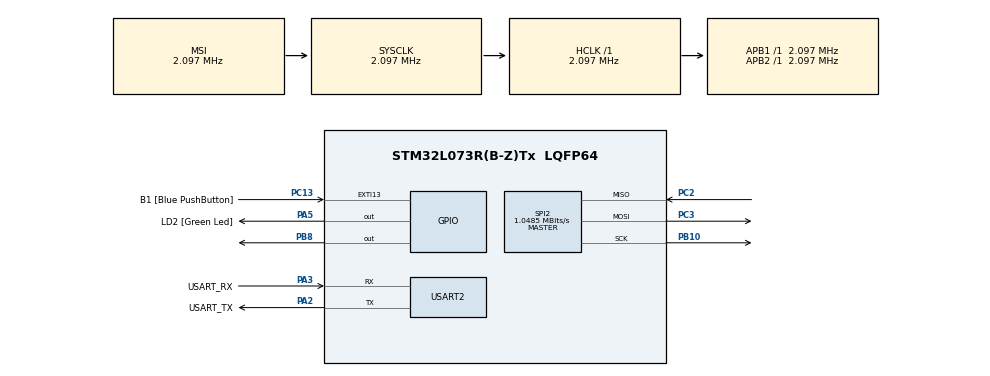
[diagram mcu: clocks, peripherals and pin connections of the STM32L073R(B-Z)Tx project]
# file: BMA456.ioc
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Mcu.Family=STM32L0
Mcu.Name=STM32L073R(B-Z)Tx
Mcu.Package=LQFP64
PA13.GPIO_Label=TMS
PA13.Mode=Serial_Wire
PA13.Signal=SYS_SWDIO
PA14.GPIO_Label=TCK
PA14.Mode=Serial_Wire
PA14.Signal=SYS_SWCLK
PA2.GPIO_Label=USART_TX
PA2.Mode=Asynchronous
PA2.Signal=USART2_TX
PA3.GPIO_Label=USART_RX
PA3.Mode=Asynchronous
PA3.Signal=USART2_RX
PA5.GPIO_Label=LD2 [Green Led]
PA5.Signal=GPIO_Output
PB10.Mode=Full_Duplex_Master
PB10.Signal=SPI2_SCK
PB8.PinState=GPIO_PIN_SET
PB8.Signal=GPIO_Output
PC13.GPIO_Label=B1 [Blue PushButton]
PC13.GPIO_ModeDefaultEXTI=GPIO_MODE_IT_FALLING
PC13.Signal=GPXTI13
PC14-OSC32_IN.Mode=LSE-External-Oscillator
PC14-OSC32_IN.Signal=RCC_OSC32_IN
PC15-OSC32_OUT.Mode=LSE-External-Oscillator
PC15-OSC32_OUT.Signal=RCC_OSC32_OUT
PC2.Mode=Full_Duplex_Master
PC2.Signal=SPI2_MISO
PC3.Mode=Full_Duplex_Master
PC3.Signal=SPI2_MOSI
PH0-OSC_IN.GPIO_Label=MCO
PH0-OSC_IN.Mode=HSE-External-Clock-Source
PH0-OSC_IN.Signal=RCC_OSC_IN
ProjectManager.HeapSize=0x200
ProjectManager.StackSize=0x400
ProjectManager.TargetToolchain=STM32CubeIDE
RCC.AHBFreq_Value=2097000
RCC.APB1Freq_Value=2097000
RCC.APB1TimFreq_Value=2097000
RCC.APB2Freq_Value=2097000
RCC.APB2TimFreq_Value=2097000
RCC.HSE_VALUE=8000000
RCC.HSI16_VALUE=16000000
RCC.HSI48_VALUE=48000000
RCC.HSI_VALUE=16000000
RCC.MSI_VALUE=2097000
RCC.SYSCLKFreq_VALUE=2097000
RCC.VCOOutputFreq_Value=48000000
SPI2.CalculateBaudRate=1.0485 MBits/s
SPI2.DataSize=SPI_DATASIZE_8BIT
SPI2.Direction=SPI_DIRECTION_2LINES
SPI2.Mode=SPI_MODE_MASTER
SPI2.VirtualType=VM_MASTER
USART2.VirtualMode-Asynchronous=VM_ASYNC
board=NUCLEO-L073RZ

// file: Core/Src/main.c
/* USER CODE BEGIN Header */
/**
  ******************************************************************************
  * @file           : main.c
  * @brief          : Main program body
  ******************************************************************************
  * @attention
  *
  * Copyright (c) 2023 STMicroelectronics.
  * All rights reserved.
  *
  * This software is licensed under terms that can be found in the LICENSE file
  * in the root directory of this software component.
  * If no LICENSE file comes with this software, it is provided AS-IS.
  *
  ******************************************************************************
  */
/* USER CODE END Header */
#include "main.h"

/* USER CODE BEGIN Includes */
#include "bma456.h"
/* USER CODE END Includes */

/* USER CODE BEGIN PD */
#define BITES_TO_SEND 8
/* USER CODE END PD */

SPI_HandleTypeDef hspi2;

UART_HandleTypeDef huart2;

/* USER CODE BEGIN PV */
void BMA456_SPI_Read(uint8_t reg_addr, uint8_t *reg_data, uint32_t len_addr, uint32_t len_data);
void BMA456_SPI_Write(uint8_t reg_addr, uint8_t reg_data);
uint8_t BMA456_Check_Connection();
void BMA456_Init();
void BMA456_Get_Sensor_Data(uint8_t *data_read);
uint8_t data_read[BITES_TO_SEND];
int16_t data_read_readable[3];
char axes[]={'x', 'y','z'};

//const uint8_t bma456_an_config_file[] = {
//    0xc8, 0x2e, 0x00, 0x2e, 0xc8, 0x2e, 0x00, 0x2e, 0xc8, 0x2e, 0x00, 0x2e, 0xc8, 0x2e, 0x00, 0x2e, 0xc8, 0x2e, 0x00,
//    0x2e, 0xc8, 0x2e, 0x00, 0x2e, 0xc8, 0x2e, 0x00, 0x2e, 0x80, 0x2e, 0x58, 0x01, 0x80, 0x2e, 0x42, 0x02, 0xb0, 0xf0,
//    0x10, 0x30, 0x21, 0x2e, 0x16, 0xf0, 0x80, 0x2e, 0xf0, 0x00, 0x1f, 0x50, 0x1d, 0x52, 0x01, 0x42, 0x3b, 0x80, 0x41,
//    0x30, 0x01, 0x42, 0x3c, 0x80, 0x00, 0x2e, 0x01, 0x40, 0x01, 0x42, 0x21, 0x2e, 0xff, 0xaf, 0xb8, 0x2e, 0x2c, 0x82,
//    0x80, 0x2e, 0x18, 0x00, 0x80, 0x2e, 0x18, 0x00, 0x80, 0x2e, 0x18, 0x00, 0x80, 0x2e, 0x18, 0x00, 0x80, 0x2e, 0x18,
//    0x00, 0x80, 0x2e, 0x18, 0x00, 0x80, 0x2e, 0x18, 0x00, 0xfd, 0x2d, 0x00, 0x00, 0x00, 0x00, 0x00, 0x00, 0x00, 0x00,
//    0x00, 0x00, 0x01, 0x2e, 0x55, 0xf0, 0xc0, 0x2e, 0x21, 0x2e, 0x55, 0xf0, 0x44, 0x47, 0xaa, 0x00, 0x05, 0x00, 0xaa,
//    0x00, 0x05, 0x00, 0x42, 0x58, 0x88, 0x00, 0x00, 0x00, 0x00, 0x00, 0x00, 0x00, 0x00, 0x00, 0x00, 0x00, 0x00, 0x00,
//    0x00, 0x00, 0x00, 0x00, 0x00, 0x00, 0x00, 0x00, 0x00, 0x00, 0x00, 0x00, 0x00, 0x00, 0x00, 0x00, 0x00, 0x00, 0x00,
//    0x00, 0x00, 0x00, 0x00, 0x00, 0x19, 0x52, 0x0b, 0x50, 0x60, 0x42, 0x00, 0x3f, 0x0d, 0x54, 0x42, 0x42, 0x69, 0x82,
//    0x0f, 0x54, 0x42, 0x42, 0x42, 0x82, 0x4b, 0x30, 0x42, 0x40, 0x10, 0x08, 0x50, 0x42, 0x7e, 0x80, 0x4b, 0x42, 0x61,
//    0x30, 0x01, 0x42, 0x10, 0x50, 0x03, 0x2e, 0x40, 0xf0, 0x56, 0xb2, 0x08, 0x80, 0x31, 0x30, 0xf0, 0x7f, 0x03, 0x2f,
//    0x01, 0x2e, 0x40, 0xf0, 0x1a, 0x90, 0x21, 0x2f, 0x98, 0x2e, 0x1e, 0xb0, 0x03, 0x30, 0x13, 0x50, 0x17, 0x52, 0x11,
//    0x54, 0x54, 0x33, 0x06, 0x30, 0x55, 0x32, 0x1d, 0x1a, 0xe3, 0x22, 0x18, 0x1a, 0x15, 0x58, 0xe3, 0x22, 0x04, 0x30,
//    0xd5, 0x40, 0xb5, 0x0d, 0xe1, 0xbe, 0x6f, 0xbb, 0x80, 0x91, 0xa9, 0x0d, 0x01, 0x89, 0xb5, 0x23, 0x10, 0xa1, 0xf7,
//    0x2f, 0xda, 0x0e, 0x54, 0x33, 0xeb, 0x2f, 0x01, 0x2e, 0x25, 0x00, 0x70, 0x1a, 0x00, 0x30, 0x21, 0x30, 0x48, 0x22,
//    0x40, 0xb2, 0x06, 0x2f, 0x23, 0x2e, 0x59, 0xf0, 0x98, 0x2e, 0x3a, 0x00, 0x00, 0x2e, 0x00, 0x2e, 0xd0, 0x2e, 0xf0,
//    0x6f, 0x01, 0x31, 0x20, 0x26, 0x01, 0x42, 0x10, 0x30, 0x21, 0x2e, 0x59, 0xf0, 0x98, 0x2e, 0x3a, 0x00, 0x01, 0x50,
//    0x03, 0x52, 0x98, 0x2e, 0x7f, 0x01, 0x01, 0x50, 0x05, 0x84, 0x13, 0x30, 0x05, 0x50, 0x64, 0x30, 0x07, 0x52, 0x93,
//    0x42, 0x84, 0x42, 0x98, 0x2e, 0x7f, 0x01, 0x05, 0x50, 0x06, 0x80, 0x71, 0x30, 0x01, 0x42, 0x00, 0x2e, 0x00, 0x2e,
//    0xd0, 0x2e, 0x98, 0x2e, 0xd6, 0x00, 0x01, 0x2e, 0x36, 0x00, 0x00, 0xb2, 0x0d, 0x2f, 0x00, 0x30, 0x21, 0x2e, 0x36,
//    0x00, 0x09, 0x50, 0x98, 0x2e, 0x18, 0x01, 0x09, 0x50, 0x01, 0x52, 0x98, 0x2e, 0x90, 0x01, 0x09, 0x50, 0x05, 0x52,
//    0x98, 0x2e, 0x90, 0x01, 0x98, 0x2e, 0x3a, 0x00, 0xe6, 0x2d, 0x07, 0x2e, 0x00, 0xf0, 0x03, 0x2e, 0x00, 0xf0, 0x21,
//    0x50, 0x9c, 0xbe, 0x02, 0x40, 0x1d, 0x52, 0xf4, 0x33, 0xdc, 0xba, 0xd9, 0x0f, 0x94, 0x08, 0x06, 0x2f, 0x49, 0xaf,
//    0x04, 0x2f, 0x51, 0x0a, 0x02, 0x34, 0x47, 0xa3, 0x8a, 0x0a, 0x91, 0x22, 0x3c, 0x80, 0x25, 0x2e, 0x59, 0xf0, 0x01,
//    0x40, 0x01, 0x42, 0xb8, 0x2e, 0x1a, 0x24, 0x26, 0x00, 0x80, 0x2e, 0x58, 0x00, 0x80, 0x2e, 0x18, 0x00, 0x80, 0x2e,
//    0x18, 0x00, 0x80, 0x2e, 0x18, 0x00, 0x80, 0x2e, 0x18, 0x00, 0x80, 0x2e, 0x18, 0x00, 0x80, 0x2e, 0x18, 0x00, 0x46,
//    0x00, 0x40, 0x00, 0x4f, 0x00, 0x42, 0x00, 0x37, 0x00, 0xaf, 0x00, 0xff, 0x00, 0xec, 0x00, 0xff, 0xb7, 0x00, 0x02,
//    0x00, 0xb0, 0x05, 0x80, 0xc9, 0xf0, 0x88, 0x00, 0x80, 0x00, 0x5e, 0xf0, 0x59, 0xf0, 0x89, 0xf0, 0x3a, 0x00, 0x80,
//    0x2e, 0x00, 0xae, 0x44, 0x47, 0xfd, 0x2d, 0x00, 0x0c, 0x60, 0x50, 0x03, 0x2e, 0x45, 0x00, 0xe0, 0x7f, 0xf1, 0x7f,
//    0xdb, 0x7f, 0x30, 0x30, 0x1b, 0x54, 0x0a, 0x1a, 0x28, 0x2f, 0x1a, 0x25, 0x7a, 0x82, 0x00, 0x30, 0x43, 0x30, 0x32,
//    0x30, 0x05, 0x30, 0x04, 0x30, 0xf6, 0x6f, 0xf2, 0x09, 0xfc, 0x13, 0xc2, 0xab, 0xb3, 0x09, 0xef, 0x23, 0x80, 0xb3,
//    0xe6, 0x6f, 0xb7, 0x01, 0x00, 0x2e, 0x8b, 0x41, 0x4b, 0x42, 0x03, 0x2f, 0x46, 0x40, 0x86, 0x17, 0x81, 0x8d, 0x46,
//    0x42, 0x41, 0x8b, 0x23, 0xbd, 0xb3, 0xbd, 0x03, 0x89, 0x41, 0x82, 0x07, 0x0c, 0x43, 0xa3, 0xe6, 0x2f, 0xe1, 0x6f,
//    0xa2, 0x6f, 0x52, 0x42, 0x00, 0x2e, 0xb2, 0x6f, 0x52, 0x42, 0x00, 0x2e, 0xc2, 0x6f, 0x42, 0x42, 0x03, 0xb2, 0x03,
//    0x2e, 0x59, 0xf0, 0xf3, 0x3d, 0x02, 0x32, 0x0b, 0x08, 0x8a, 0x0a, 0xdb, 0x6f, 0x02, 0x22, 0xa0, 0x5f, 0x21, 0x2e,
//    0x59, 0xf0, 0xb8, 0x2e, 0x60, 0x50, 0xc3, 0x7f, 0xd4, 0x7f, 0xe7, 0x7f, 0xf6, 0x7f, 0xb2, 0x7f, 0xa5, 0x7f, 0x36,
//    0x30, 0x07, 0x2e, 0x01, 0xf0, 0xbe, 0xbd, 0xbe, 0xbb, 0x23, 0x58, 0x77, 0x05, 0x09, 0x56, 0x25, 0x54, 0x27, 0x41,
//    0x06, 0x41, 0xf8, 0xbf, 0xbe, 0x0b, 0xb5, 0x11, 0xd6, 0x42, 0x03, 0x89, 0x5a, 0x0e, 0xf6, 0x2f, 0x12, 0x30, 0x25,
//    0x2e, 0x36, 0x00, 0x02, 0x31, 0x25, 0x2e, 0xb8, 0xf0, 0xd4, 0x6f, 0xc3, 0x6f, 0xe7, 0x6f, 0xb2, 0x6f, 0xa5, 0x6f,
//    0xf6, 0x6f, 0xa0, 0x5f, 0xc8, 0x2e, 0x09, 0x86, 0x02, 0x30, 0x12, 0x42, 0x43, 0x0e, 0xfc, 0x2f, 0x37, 0x80, 0x13,
//    0x30, 0x13, 0x42, 0x12, 0x42, 0x12, 0x42, 0x12, 0x42, 0x02, 0x42, 0x03, 0x80, 0x41, 0x84, 0x11, 0x42, 0x02, 0x42,
//    0xb8, 0x2e, 0x46, 0x84, 0x80, 0x50, 0xa3, 0x40, 0x83, 0x88, 0x82, 0x40, 0x04, 0x41, 0xc3, 0x7f, 0x42, 0x8a, 0x06,
//    0x41, 0x6d, 0xbb, 0xf6, 0x7f, 0x80, 0xb3, 0xd5, 0x7f, 0xe0, 0x7f, 0x59, 0x2f, 0x31, 0x25, 0x55, 0x40, 0x41, 0x91,
//    0xb1, 0x7f, 0x0f, 0x2f, 0x01, 0x30, 0xc1, 0x42, 0x00, 0x2e, 0xd2, 0x6f, 0x13, 0x40, 0x93, 0x42, 0x00, 0x2e, 0x13,
//    0x40, 0x93, 0x42, 0x00, 0x2e, 0x00, 0x40, 0x80, 0x42, 0xbd, 0x80, 0xc0, 0x2e, 0x01, 0x42, 0x80, 0x5f, 0xc7, 0x86,
//    0x01, 0x30, 0xc5, 0x40, 0xfb, 0x86, 0x45, 0x41, 0x04, 0x41, 0x43, 0xbe, 0xd5, 0xbe, 0x43, 0xba, 0xd5, 0xba, 0x84,
//    0x7f, 0x95, 0x7f, 0xa1, 0x7f, 0x14, 0x30, 0x61, 0x15, 0xf5, 0x09, 0x15, 0x40, 0xc0, 0xb3, 0x0b, 0x2f, 0xc6, 0x40,
//    0xae, 0x05, 0x07, 0x30, 0xfe, 0x05, 0x80, 0xa9, 0xb7, 0x23, 0x97, 0x6f, 0x77, 0x0f, 0xa6, 0x6f, 0xe6, 0x23, 0xf6,
//    0x6f, 0xa7, 0x7f, 0x80, 0x90, 0x00, 0x2f, 0xc5, 0x42, 0x41, 0x82, 0xc1, 0x86, 0x43, 0xa2, 0xe7, 0x2f, 0xa1, 0x6f,
//    0xb0, 0x6f, 0x0a, 0x1a, 0x02, 0x2f, 0x01, 0x30, 0x1b, 0x2c, 0x01, 0x42, 0x01, 0x40, 0x4c, 0x28, 0x82, 0x6f, 0x01,
//    0x42, 0x4a, 0x0e, 0x13, 0x2f, 0xc0, 0x6f, 0x00, 0xb2, 0x03, 0x2f, 0x3f, 0x80, 0x20, 0x14, 0x21, 0x2e, 0x5e, 0xf0,
//    0xe1, 0x6f, 0xd0, 0x6f, 0x52, 0x40, 0x12, 0x42, 0x00, 0x2e, 0x52, 0x40, 0x12, 0x42, 0x00, 0x2e, 0x41, 0x40, 0x03,
//    0x2c, 0x01, 0x42, 0x10, 0x30, 0x40, 0x42, 0x80, 0x5f, 0xb8, 0x2e, 0x80, 0x2e, 0x18, 0x00, 0xfd, 0x2d, 0x30, 0x50,
//    0x2a, 0x25, 0xbd, 0x84, 0xfb, 0x7f, 0x8b, 0x31, 0x27, 0x56, 0x83, 0x42, 0xeb, 0x7f, 0x06, 0x30, 0x14, 0x30, 0x05,
//    0x30, 0x0d, 0x2c, 0x13, 0x56, 0x43, 0x1a, 0x02, 0x2f, 0x4e, 0x04, 0x06, 0x30, 0x15, 0x50, 0xec, 0x09, 0xd7, 0x01,
//    0x41, 0x8b, 0xcb, 0x41, 0xc6, 0x01, 0x81, 0x8d, 0xcb, 0x43, 0x31, 0x0e, 0xf1, 0x2f, 0xfb, 0x6f, 0xd0, 0x5f, 0xb8,
//    0x2e, 0x10, 0x50, 0x01, 0x2e, 0x35, 0x00, 0x00, 0xb2, 0xfb, 0x7f, 0x19, 0x2f, 0x29, 0x56, 0x2f, 0x52, 0x13, 0x54,
//    0xc3, 0x00, 0x48, 0x04, 0xc2, 0x0f, 0x18, 0x22, 0x41, 0xb2, 0x0e, 0x2f, 0x12, 0x30, 0x8a, 0x08, 0x80, 0xb2, 0x06,
//    0x2f, 0x7f, 0x82, 0x98, 0x2e, 0x00, 0xb0, 0x2d, 0x52, 0x23, 0x2e, 0xff, 0xb9, 0x06, 0x2d, 0xfb, 0x6f, 0xf0, 0x5f,
//    0x80, 0x2e, 0x00, 0xb0, 0x2b, 0x52, 0x01, 0x42, 0x00, 0x2e, 0xfb, 0x6f, 0xf0, 0x5f, 0xb8, 0x2e, 0x10, 0x24, 0x58,
//    0x02, 0x11, 0x24, 0x00, 0x0c, 0x12, 0x24, 0x80, 0x2e, 0x13, 0x24, 0x18, 0x00, 0x12, 0x42, 0x13, 0x42, 0x41, 0x1a,
//    0xfb, 0x2f, 0x10, 0x24, 0x50, 0x39, 0x11, 0x24, 0x21, 0x2e, 0x21, 0x2e, 0x10, 0x00, 0x23, 0x2e, 0x11, 0x00, 0x80,
//    0x2e, 0x10, 0x00
//};

//uint8_t tabToWrite[]={0x0, 0xaa, 0x00, 0x5, 0x1, 0x2d, 0x7b, 0xd4, 0x1, 0x3b, 0x7a, 0xdb, 0x0, 0x4, 0x7b, 0x3f, 0x6c,
//		0xcd, 0x4, 0xc3, 0x9, 0x85, 0x4, 0xc3, 0xe6, 0xec, 0x46, 0xc, 0x0, 0x1, 0x0, 0x27, 0x0, 0x19, 0x0, 0x96, 0x0,
//		0xa0, 0x0, 0x01, 0x0, 0x0c, 0x3c, 0xf0, 0x01, 0x0, 0x1, 0x0, 0x03, 0x0, 0x1, 0x0, 0xe, 0x0, 0x0, 0x0, 0x6, 0x0,
//		0x0, 0x0, 0x0, 0x0, 0x88};

/* USER CODE END PV */

void SystemClock_Config(void);
static void MX_GPIO_Init(void);
static void MX_USART2_UART_Init(void);
static void MX_SPI2_Init(void);

/* USER CODE BEGIN 0 */
int __io_putchar(int ch) // UART - NOT NEEDED LATER ON
{
	HAL_UART_Transmit(&huart2, (uint8_t*)&ch, 1, HAL_MAX_DELAY);
	return 1;
}

void measureAcc(int16_t *data_read_readable, uint8_t *data_read)
{
	BMA456_Get_Sensor_Data(data_read);
	data_read_readable[0] = (int16_t)data_read[1+2]*256 + data_read[0+2];
	data_read_readable[1] = (int16_t)data_read[3+2]*256 + data_read[2+2];
	data_read_readable[2] = (int16_t)data_read[5+2]*256 + data_read[4+2];
	HAL_Delay(100);
}
/* USER CODE END 0 */

int main(void)
{

  /* MCU Configuration--------------------------------------------------------*/

  /* Reset of all peripherals, Initializes the Flash interface and the Systick. */
  HAL_Init();

  /* Configure the system clock */
  SystemClock_Config();

  /* Initialize all configured peripherals */
  MX_GPIO_Init();
  MX_USART2_UART_Init();
  MX_SPI2_Init();
  /* USER CODE BEGIN 2 */
//  HAL_GPIO_WritePin(GPIOB, GPIO_PIN_8, GPIO_PIN_SET);
  HAL_Delay(200);
  uint8_t rslt;
  do{
	  rslt = BMA456_Check_Connection();
	  HAL_Delay(10);
  }while(rslt != 1);

  //HAL_GPIO_WritePin(GPIOB, GPIO_PIN_8, GPIO_PIN_SET);

//  rslt = BMA456_Check_Connection(&hspi2);

  if(rslt == 1)
  {
	  BMA456_Init();
	  while(1){
	  measureAcc(data_read_readable, data_read);
	  printf("Output data readable:\r\n");
	  for(int i = 0; i<3; i++)
	  {
	   	printf("%d \r\n", data_read_readable[i]);
	  }
	  for (int i=0; i<3;i++){
		  if(data_read_readable[i]>1900 && data_read_readable[i]<2500 && data_read_readable[i]>data_read_readable[(i+1)%3] && data_read_readable[i]>data_read_readable[(i+2)%3]){
		  printf("Grawitacja: %c\r\n", axes[i]);
	  }
		  if(data_read_readable[i]<-1900 && data_read_readable[i]>-2500 && data_read_readable[i]<data_read_readable[(i+1)%3] && data_read_readable[i]<data_read_readable[(i+2)%3]){
		  		  printf("Grawitacja: - %c\r\n", axes[i]);
		  	  }
	  }
	  }

  }

  /* USER CODE END 2 */

  /* Infinite loop */
  while (1)
  {

  }
}

void SystemClock_Config(void)
{
  RCC_OscInitTypeDef RCC_OscInitStruct = {0};
  RCC_ClkInitTypeDef RCC_ClkInitStruct = {0};
  RCC_PeriphCLKInitTypeDef PeriphClkInit = {0};

  /** Configure the main internal regulator output voltage
  */
  __HAL_PWR_VOLTAGESCALING_CONFIG(PWR_REGULATOR_VOLTAGE_SCALE1);

  /** Initializes the RCC Oscillators according to the specified parameters
  * in the RCC_OscInitTypeDef structure.
  */
  RCC_OscInitStruct.OscillatorType = RCC_OSCILLATORTYPE_MSI;
  RCC_OscInitStruct.MSIState = RCC_MSI_ON;
  RCC_OscInitStruct.MSICalibrationValue = 0;
  RCC_OscInitStruct.MSIClockRange = RCC_MSIRANGE_5;
  RCC_OscInitStruct.PLL.PLLState = RCC_PLL_NONE;
  if (HAL_RCC_OscConfig(&RCC_OscInitStruct) != HAL_OK)
  {
    Error_Handler();
  }

  /** Initializes the CPU, AHB and APB buses clocks
  */
  RCC_ClkInitStruct.ClockType = RCC_CLOCKTYPE_HCLK|RCC_CLOCKTYPE_SYSCLK
                              |RCC_CLOCKTYPE_PCLK1|RCC_CLOCKTYPE_PCLK2;
  RCC_ClkInitStruct.SYSCLKSource = RCC_SYSCLKSOURCE_MSI;
  RCC_ClkInitStruct.AHBCLKDivider = RCC_SYSCLK_DIV1;
  RCC_ClkInitStruct.APB1CLKDivider = RCC_HCLK_DIV1;
  RCC_ClkInitStruct.APB2CLKDivider = RCC_HCLK_DIV1;

  if (HAL_RCC_ClockConfig(&RCC_ClkInitStruct, FLASH_LATENCY_0) != HAL_OK)
  {
    Error_Handler();
  }
  PeriphClkInit.PeriphClockSelection = RCC_PERIPHCLK_USART2;
  PeriphClkInit.Usart2ClockSelection = RCC_USART2CLKSOURCE_PCLK1;
  if (HAL_RCCEx_PeriphCLKConfig(&PeriphClkInit) != HAL_OK)
  {
    Error_Handler();
  }
}

static void MX_SPI2_Init(void)
{

  /* SPI2 parameter configuration*/
  hspi2.Instance = SPI2;
  hspi2.Init.Mode = SPI_MODE_MASTER;
  hspi2.Init.Direction = SPI_DIRECTION_2LINES;
  hspi2.Init.DataSize = SPI_DATASIZE_8BIT;
  hspi2.Init.CLKPolarity = SPI_POLARITY_LOW;
  hspi2.Init.CLKPhase = SPI_PHASE_1EDGE;
  hspi2.Init.NSS = SPI_NSS_SOFT;
  hspi2.Init.BaudRatePrescaler = SPI_BAUDRATEPRESCALER_2;
  hspi2.Init.FirstBit = SPI_FIRSTBIT_MSB;
  hspi2.Init.TIMode = SPI_TIMODE_DISABLE;
  hspi2.Init.CRCCalculation = SPI_CRCCALCULATION_DISABLE;
  hspi2.Init.CRCPolynomial = 7;
  if (HAL_SPI_Init(&hspi2) != HAL_OK)
  {
    Error_Handler();
  }

}

static void MX_USART2_UART_Init(void)
{

  huart2.Instance = USART2;
  huart2.Init.BaudRate = 115200;
  huart2.Init.WordLength = UART_WORDLENGTH_8B;
  huart2.Init.StopBits = UART_STOPBITS_1;
  huart2.Init.Parity = UART_PARITY_NONE;
  huart2.Init.Mode = UART_MODE_TX_RX;
  huart2.Init.HwFlowCtl = UART_HWCONTROL_NONE;
  huart2.Init.OverSampling = UART_OVERSAMPLING_16;
  huart2.Init.OneBitSampling = UART_ONE_BIT_SAMPLE_DISABLE;
  huart2.AdvancedInit.AdvFeatureInit = UART_ADVFEATURE_NO_INIT;
  if (HAL_UART_Init(&huart2) != HAL_OK)
  {
    Error_Handler();
  }

}

static void MX_GPIO_Init(void)
{
  GPIO_InitTypeDef GPIO_InitStruct = {0};

  /* GPIO Ports Clock Enable */
  __HAL_RCC_GPIOC_CLK_ENABLE();
  __HAL_RCC_GPIOH_CLK_ENABLE();
  __HAL_RCC_GPIOA_CLK_ENABLE();
  __HAL_RCC_GPIOB_CLK_ENABLE();

  /*Configure GPIO pin Output Level */
  HAL_GPIO_WritePin(LD2_GPIO_Port, LD2_Pin, GPIO_PIN_RESET);

  /*Configure GPIO pin Output Level */
  HAL_GPIO_WritePin(GPIOB, GPIO_PIN_8, GPIO_PIN_SET);

  /*Configure GPIO pin : B1_Pin */
  GPIO_InitStruct.Pin = B1_Pin;
  GPIO_InitStruct.Mode = GPIO_MODE_IT_FALLING;
  GPIO_InitStruct.Pull = GPIO_NOPULL;
  HAL_GPIO_Init(B1_GPIO_Port, &GPIO_InitStruct);

  /*Configure GPIO pin : LD2_Pin */
  GPIO_InitStruct.Pin = LD2_Pin;
  GPIO_InitStruct.Mode = GPIO_MODE_OUTPUT_PP;
  GPIO_InitStruct.Pull = GPIO_NOPULL;
  GPIO_InitStruct.Speed = GPIO_SPEED_FREQ_LOW;
  HAL_GPIO_Init(LD2_GPIO_Port, &GPIO_InitStruct);

  /*Configure GPIO pin : PB8 */
  GPIO_InitStruct.Pin = GPIO_PIN_8;
  GPIO_InitStruct.Mode = GPIO_MODE_OUTPUT_PP;
  GPIO_InitStruct.Pull = GPIO_NOPULL;
  GPIO_InitStruct.Speed = GPIO_SPEED_FREQ_LOW;
  HAL_GPIO_Init(GPIOB, &GPIO_InitStruct);

}

/* USER CODE BEGIN 4 */
void BMA456_SPI_Read(uint8_t reg_addr, uint8_t *reg_data, uint32_t len_addr, uint32_t len_data)
{
	reg_addr |= 0x80;

    HAL_GPIO_WritePin(GPIOB, GPIO_PIN_8, GPIO_PIN_RESET);

    HAL_SPI_Transmit(&hspi2, &reg_addr, len_addr, 1000);
	HAL_SPI_Receive(&hspi2, reg_data, len_data, 1000);

    HAL_GPIO_WritePin(GPIOB, GPIO_PIN_8, GPIO_PIN_SET);

}
void BMA456_SPI_Write(uint8_t reg_addr, uint8_t reg_data)
{
	uint8_t reg_data_tab[2];
	reg_data_tab[0] = reg_addr & 0x7F;
	reg_data_tab[1] = reg_data;

    HAL_GPIO_WritePin(GPIOB, GPIO_PIN_8, GPIO_PIN_RESET);

	HAL_SPI_Transmit(&hspi2, reg_data_tab, 2, 1000);

    HAL_GPIO_WritePin(GPIOB, GPIO_PIN_8, GPIO_PIN_SET);
//    reg_addr |= 0x80;
//    reg_data_tab[0] = reg_addr;
//    HAL_GPIO_WritePin(GPIOB, GPIO_PIN_8, GPIO_PIN_RESET);
//
//    //reg_data_tab[0] = reg_addr | 0x80;
//    HAL_SPI_Transmit(&hspi2, reg_data_tab, 2, 1000);
//
//    HAL_GPIO_WritePin(GPIOB, GPIO_PIN_8, GPIO_PIN_SET);

}

void BMA456_SPI_Write_tab(uint8_t reg_addr, uint8_t *reg_data, uint8_t len)
{

    HAL_GPIO_WritePin(GPIOB, GPIO_PIN_8, GPIO_PIN_RESET);

    HAL_SPI_Transmit(&hspi2, &reg_addr, 1, 1000);

	HAL_SPI_Transmit(&hspi2, reg_data, len, 1000);

    HAL_GPIO_WritePin(GPIOB, GPIO_PIN_8, GPIO_PIN_SET);
//    reg_addr |= 0x80;
//    reg_data_tab[0] = reg_addr;
//    HAL_GPIO_WritePin(GPIOB, GPIO_PIN_8, GPIO_PIN_RESET);
//
//    //reg_data_tab[0] = reg_addr | 0x80;
//    HAL_SPI_Transmit(&hspi2, reg_data_tab, 2, 1000);
//
//    HAL_GPIO_WritePin(GPIOB, GPIO_PIN_8, GPIO_PIN_SET);

}

uint8_t BMA456_Check_Connection()
{
	uint8_t reg_addr = 0x00;
	reg_addr |= 0x80;
	uint8_t reg_addr_tab[2];
	reg_addr_tab[0] = reg_addr;
	uint8_t reg_data[2];
//	while(1){
    HAL_GPIO_WritePin(GPIOB, GPIO_PIN_8, GPIO_PIN_RESET);

    HAL_SPI_TransmitReceive(&hspi2, reg_addr_tab, reg_data, 2, 1000);
    //HAL_SPI_Transmit(intf_ptr, reg_addr_tab, 2, 1000);
	//HAL_SPI_Receive(intf_ptr, reg_data, 2, 1000);

    HAL_GPIO_WritePin(GPIOB, GPIO_PIN_8, GPIO_PIN_SET);
//	}

    if( reg_data[1] == 0x16)
    {
    	return 1;
    }else{
    	return 0;
    }
}
//uint8_t data_read[6] = {0x00, 0x00, 0x00, 0x00, 0x00, 0x00};
void BMA456_Init()
{
//  HAL_GPIO_WritePin(GPIOB, GPIO_PIN_8, GPIO_PIN_SET);

	//BMA456_SPI_Write(BMA456_PWR_CONF, 0x02, &hspi2);
	//HAL_Delay(10);

	//BMA456_SPI_Write(BMA456_PWR_CTRL, 0x00, &hspi2);
	//HAL_Delay(10);

/*INICJALIZACJA*/
	BMA456_SPI_Write(BMA456_CMD, 0xB6);
	HAL_Delay(10);

	BMA456_SPI_Write(BMA456_PWR_CONF, 0x00);
	HAL_Delay(10);

	BMA456_SPI_Write(BMA456_INIT_CTRL, 0x00);
	HAL_Delay(10);

	BMA456_SPI_Write(0x41, 0x03);
	HAL_Delay(10);

	BMA456_SPI_Write(BMA456_INIT_CTRL, 0x01);
	HAL_Delay(10);

	HAL_Delay (150);

	BMA456_SPI_Write(BMA456_PWR_CTRL, 0x04);
	HAL_Delay(10);

	BMA456_SPI_Write(BMA456_ACC_CONF, 0x17);
	HAL_Delay(10);

	BMA456_SPI_Write(BMA456_PWR_CONF, 0x03);
	HAL_Delay(10);
/*INICJALIZACJA*/

// FATURES_IN
//	uint8_t config_file[] = {
//		0x00, 0xAA, // 0x00 default
//	    0x00, 0x05, // 0x02 threshold (default)
//		0x00, 0xAA, // 0x04 default
//		0xe0, 0x05, // 0x06 x_en, y_en, z_en, duration (default)
//		0x00, 0x00, // 0x08 default
//		0x00, 0x88  // 0x0A default
//	};

//	uint8_t reg_addr = 0x0a;

/*ZAPIS 1*/
//	HAL_GPIO_WritePin(GPIOB, GPIO_PIN_8, GPIO_PIN_RESET);
//	HAL_SPI_Transmit(&hspi2, &reg_addr, 1, 100);
//	HAL_SPI_Transmit(&hspi2, (uint8_t *)config_file, 12, 100);
//	//HAL_SPI_Transmit(&hspi2, config_file, 13, 100);
//    HAL_GPIO_WritePin(GPIOB, GPIO_PIN_8, GPIO_PIN_SET);
//    HAL_Delay(1000);
/*ZAPIS 1*/

//    reg_addr |= 0x80;

//    uint8_t reg_data = 0x00;
//    uint8_t data_sent[14];
//    data_sent[0] = reg_addr;
//	BMA456_SPI_Read(0x44, &reg_data, 2, 1, &hspi2);
//	uint8_t data_read[6] = {0x03, 0x03, 0x03, 0x03, 0x03, 0x03};
//	BMA456_SPI_Read(0x5E, data_read, 7, 6, &hspi2);

/*ODCZYT 1*/
	//while(1){
    //uint8_t data_read[12];
    //HAL_GPIO_WritePin(GPIOB, GPIO_PIN_8, GPIO_PIN_RESET);
    //HAL_SPI_TransmitReceive(&hspi2, data_sent, data_read, 13, 1000);
    //HAL_SPI_Transmit(&hspi2, &reg_addr, 1 , 100);
	//HAL_SPI_Receive(&hspi2, data_read, 12, 100);
    //HAL_GPIO_WritePin(GPIOB, GPIO_PIN_8, GPIO_PIN_SET);
    //HAL_Delay(100);
	//}
/*ODCZYT 1*/

    //////////////////////////////////////////////////

	/////////////////////////////////////////////////

/*ODCZYT 2*/
    //uint8_t data_read1[12];
//	while(1){
    //HAL_GPIO_WritePin(GPIOB, GPIO_PIN_8, GPIO_PIN_RESET);
    //HAL_SPI_TransmitReceive(&hspi2, data_sent, data_read, 13, 1000);
    //HAL_SPI_Transmit(&hspi2, &reg_addr, 1 , 100);
	//HAL_SPI_Receive(&hspi2, data_read1, 12, 100);
    //HAL_GPIO_WritePin(GPIOB, GPIO_PIN_8, GPIO_PIN_SET);
    //HAL_Delay(100);
//	}
/*ODCZYT 2*/

/*ZAPIS 2*/
	//HAL_GPIO_WritePin(GPIOB, GPIO_PIN_8, GPIO_PIN_RESET);
	//HAL_SPI_Transmit(&hspi2, &reg_addr, 1, 100);
	//HAL_SPI_Transmit(&hspi2, (uint8_t *)config_file, 12, 100);
    //HAL_GPIO_WritePin(GPIOB, GPIO_PIN_8, GPIO_PIN_SET);
    //HAL_Delay(1000);
/*ZAPIS 2*/

//ODCZYT 0x0a

}
void BMA456_Get_Sensor_Data(uint8_t *data_read)
{
	uint8_t reg_addr = 0x12;
	reg_addr |= 0x80;
	uint8_t data_sent[BITES_TO_SEND];
	data_sent[0] = reg_addr;

	//while(1){
	  HAL_GPIO_WritePin(GPIOB, GPIO_PIN_8, GPIO_PIN_RESET);
	  HAL_SPI_TransmitReceive(&hspi2, data_sent, data_read, BITES_TO_SEND, 100);
	  HAL_GPIO_WritePin(GPIOB, GPIO_PIN_8, GPIO_PIN_SET);

	//}
}
/* USER CODE END 4 */

void Error_Handler(void)
{
  __disable_irq();
  while (1)
  {
  }
}
